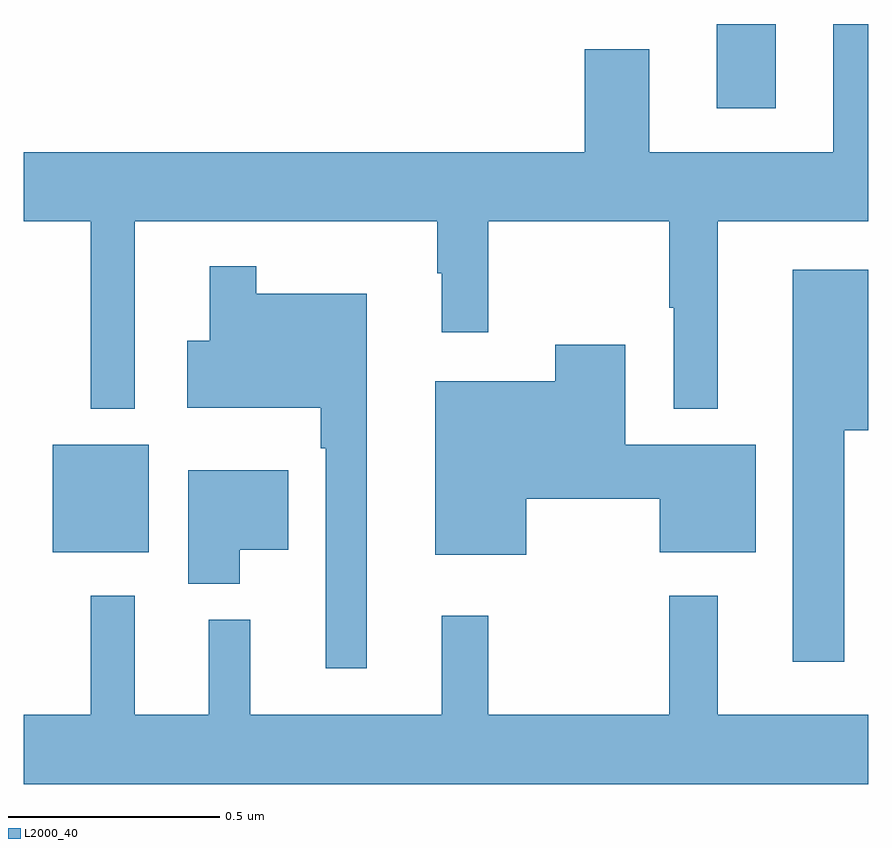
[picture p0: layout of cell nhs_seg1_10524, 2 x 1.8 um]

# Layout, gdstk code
import gdstk
lib = gdstk.Library(unit=1e-6, precision=1e-09)
def R(c, l, rs):  # rectangles x0, y0, x1, y1
    for r in rs: c.add(gdstk.rectangle(r[:2], r[2:], *l))
def P(c, l, *ps):  # polygons
    for p in ps: c.add(gdstk.Polygon(p, *l))
L2000_40 = (2000, 40)

nhs_seg1_10524 = lib.new_cell('nhs_seg1_10524')
R(nhs_seg1_10524, L2000_40, [(242.069,550.949,242.296,551.203), (243.641,552,243.781,552.199)])
P(nhs_seg1_10524, L2000_40, [(242.263,551.732),(242.979,551.732),(242.979,551.609),(242.99,551.609),(242.99,551.469),(243.1,551.469),(243.1,551.732),(243.529,551.732),(243.529,551.527),(243.539,551.527),(243.539,551.288),(243.643,551.288),(243.643,551.732),(244,551.732),(244,552.199),(243.917,552.199),(243.917,551.896),(243.481,551.896),(243.481,552.139),(243.329,552.139),(243.329,551.896),(242,551.896),(242,551.732),(242.159,551.732),(242.159,551.288),(242.263,551.288)],
  [(242.812,551.56),(242.551,551.56),(242.551,551.626),(242.441,551.626),(242.441,551.449),(242.388,551.449),(242.388,551.291),(242.703,551.291),(242.703,551.195),(242.715,551.195),(242.715,550.674),(242.812,550.674)],
  [(243.943,551.237),(244,551.237),(244,551.617),(243.821,551.617),(243.821,550.689),(243.943,550.689)],
  [(243.19,551.075),(243.506,551.075),(243.506,550.949),(243.733,550.949),(243.733,551.203),(243.424,551.203),(243.424,551.44),(243.259,551.44),(243.259,551.353),(242.975,551.353),(242.975,550.943),(243.19,550.943)],
  [(242.512,550.955),(242.626,550.955),(242.626,551.143),(242.39,551.143),(242.39,550.874),(242.512,550.874)],
  [(244,550.564),(243.643,550.564),(243.643,550.846),(243.529,550.846),(243.529,550.564),(243.1,550.564),(243.1,550.798),(242.99,550.798),(242.99,550.564),(242.537,550.564),(242.537,550.789),(242.438,550.789),(242.438,550.564),(242.263,550.564),(242.263,550.846),(242.159,550.846),(242.159,550.564),(242,550.564),(242,550.4),(244,550.4)])

lib.write_gds('nhs_seg1_10524.gds')
